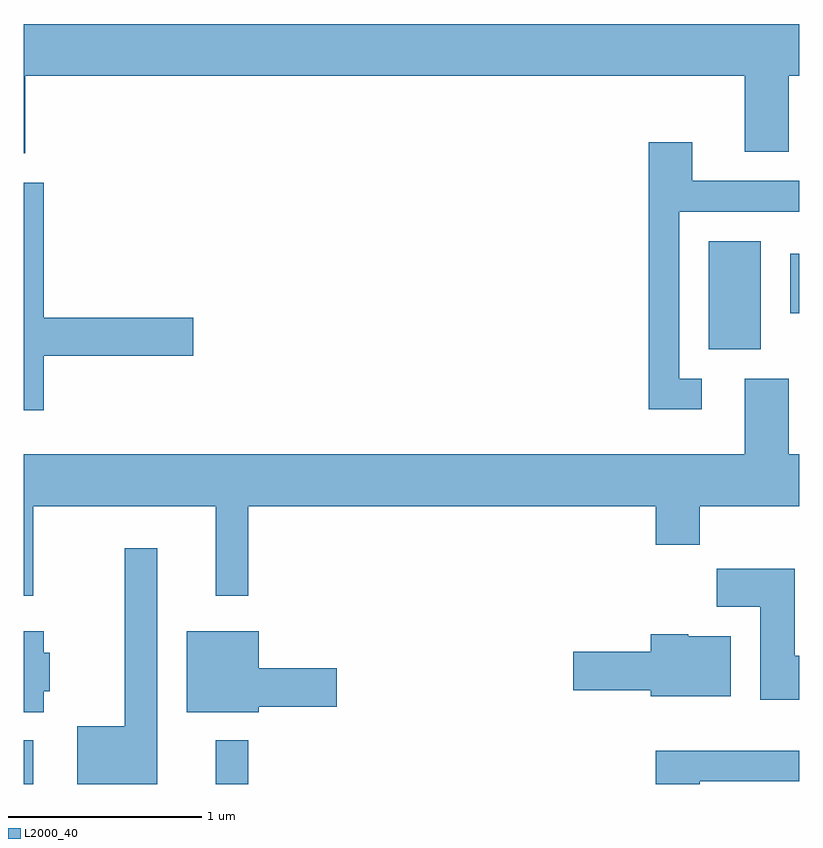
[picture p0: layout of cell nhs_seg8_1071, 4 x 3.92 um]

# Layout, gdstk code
import gdstk
lib = gdstk.Library(unit=1e-6, precision=1e-09)
def R(c, l, rs):  # rectangles x0, y0, x1, y1
    for r in rs: c.add(gdstk.rectangle(r[:2], r[2:], *l))
def P(c, l, *ps):  # polygons
    for p in ps: c.add(gdstk.Polygon(p, *l))
L2000_40 = (2000, 40)

nhs_seg8_1071 = lib.new_cell('nhs_seg8_1071')
R(nhs_seg8_1071, L2000_40, [(217.611,1808.342,217.659,1808.568), (218.601,1808.342,218.769,1808.568), (221.146,1810.586,221.414,1811.144), (221.566,1810.771,221.611,1811.079)])
P(nhs_seg8_1071, L2000_40, [(217.619,1811.996),(221.331,1811.996),(221.331,1811.606),(221.559,1811.606),(221.559,1811.996),(221.611,1811.996),(221.611,1812.264),(217.611,1812.264),(217.611,1811.596),(217.619,1811.596)],
  [(221.108,1810.434),(220.994,1810.434),(220.994,1811.296),(221.611,1811.296),(221.611,1811.454),(221.059,1811.454),(221.059,1811.654),(220.836,1811.654),(220.836,1810.276),(221.108,1810.276)],
  [(217.714,1810.551),(218.484,1810.551),(218.484,1810.749),(217.714,1810.749),(217.714,1811.444),(217.611,1811.444),(217.611,1810.271),(217.714,1810.271)],
  [(217.659,1809.776),(218.601,1809.776),(218.601,1809.313),(218.769,1809.313),(218.769,1809.776),(220.871,1809.776),(220.871,1809.576),(221.099,1809.576),(221.099,1809.776),(221.611,1809.776),(221.611,1810.044),(221.559,1810.044),(221.559,1810.434),(221.331,1810.434),(221.331,1810.044),(217.611,1810.044),(217.611,1809.313),(217.659,1809.313)],
  [(218.299,1809.558),(218.131,1809.558),(218.131,1808.639),(217.886,1808.639),(217.886,1808.342),(218.299,1808.342)],
  [(221.611,1809.004),(221.589,1809.004),(221.589,1809.454),(221.186,1809.454),(221.186,1809.256),(221.411,1809.256),(221.411,1808.776),(221.611,1808.776)],
  [(217.714,1808.821),(217.744,1808.821),(217.744,1809.019),(217.714,1809.019),(217.714,1809.129),(217.611,1809.129),(217.611,1808.711),(217.714,1808.711)],
  [(218.824,1808.741),(219.224,1808.741),(219.224,1808.939),(218.824,1808.939),(218.824,1809.129),(218.451,1809.129),(218.451,1808.711),(218.824,1808.711)],
  [(221.259,1809.104),(221.04,1809.104),(221.04,1809.114),(220.846,1809.114),(220.846,1809.024),(220.446,1809.024),(220.446,1808.826),(220.846,1808.826),(220.846,1808.796),(221.259,1808.796)],
  [(221.099,1808.356),(221.611,1808.356),(221.611,1808.514),(220.871,1808.514),(220.871,1808.342),(221.099,1808.342)])

lib.write_gds('nhs_seg8_1071.gds')
